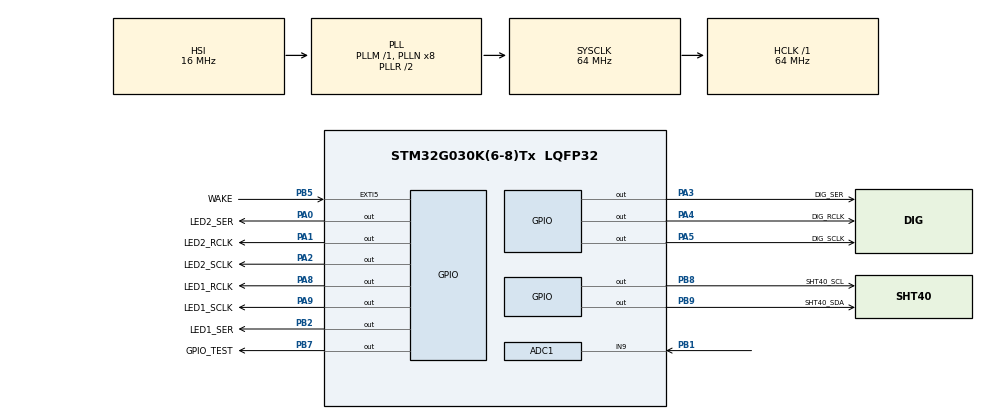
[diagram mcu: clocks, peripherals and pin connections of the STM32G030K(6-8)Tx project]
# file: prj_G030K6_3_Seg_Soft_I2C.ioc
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ADC1.Channel-1\#ChannelRegularConversion=ADC_CHANNEL_9
ADC1.NbrOfConversionFlag=1
ADC1.Rank-1\#ChannelRegularConversion=1
ADC1.SamplingTime-1\#ChannelRegularConversion=ADC_SAMPLINGTIME_COMMON_1
ADC1.SamplingTimeCommon1=ADC_SAMPLETIME_160CYCLES_5
ADC1.SamplingTimeCommon2=ADC_SAMPLETIME_160CYCLES_5
ADC1.SelectedChannel=ADC_CHANNEL_9
ADC1.master=1
Mcu.Family=STM32G0
Mcu.Name=STM32G030K(6-8)Tx
Mcu.Package=LQFP32
NVIC.EXTI4_15_IRQn=true\:1\:0\:true\:false\:true\:true\:true\:true
NVIC.TIM14_IRQn=true\:2\:0\:true\:false\:true\:true\:true\:true
PA0.GPIO_Label=LED2_SER
PA0.GPIO_Speed=GPIO_SPEED_FREQ_VERY_HIGH
PA0.Signal=GPIO_Output
PA1.GPIO_Label=LED2_RCLK
PA1.GPIO_Speed=GPIO_SPEED_FREQ_VERY_HIGH
PA1.Signal=GPIO_Output
PA13.Mode=Serial_Wire
PA13.Signal=SYS_SWDIO
PA14-BOOT0.Mode=Serial_Wire
PA14-BOOT0.Signal=SYS_SWCLK
PA2.GPIO_Label=LED2_SCLK
PA2.GPIO_Speed=GPIO_SPEED_FREQ_VERY_HIGH
PA2.Signal=GPIO_Output
PA3.GPIO_Label=DIG_SER
PA3.GPIO_Speed=GPIO_SPEED_FREQ_VERY_HIGH
PA3.Signal=GPIO_Output
PA4.GPIO_Label=DIG_RCLK
PA4.GPIO_Speed=GPIO_SPEED_FREQ_VERY_HIGH
PA4.Signal=GPIO_Output
PA5.GPIO_Label=DIG_SCLK
PA5.GPIO_Speed=GPIO_SPEED_FREQ_VERY_HIGH
PA5.Signal=GPIO_Output
PA8.GPIO_Label=LED1_RCLK
PA8.GPIO_Speed=GPIO_SPEED_FREQ_VERY_HIGH
PA8.Signal=GPIO_Output
PA9.GPIO_FMPA9=__NULL
PA9.GPIO_Label=LED1_SCLK
PA9.GPIO_Speed=GPIO_SPEED_FREQ_VERY_HIGH
PA9.Signal=GPIO_Output
PB1.Mode=IN9
PB1.Signal=ADC1_IN9
PB2.GPIO_Label=LED1_SER
PB2.Signal=GPIO_Output
PB5.GPIO_Label=WAKE
PB5.GPIO_ModeDefaultEXTI=GPIO_MODE_IT_FALLING
PB5.GPIO_PuPd=GPIO_PULLUP
PB5.Signal=GPXTI5
PB7.GPIO_Label=GPIO_TEST
PB7.Signal=GPIO_Output
PB8.GPIO_Label=SHT40_SCL
PB8.GPIO_ModeDefaultOutputPP=GPIO_MODE_OUTPUT_OD
PB8.GPIO_PuPd=GPIO_PULLUP
PB8.GPIO_Speed=GPIO_SPEED_FREQ_MEDIUM
PB8.Signal=GPIO_Output
PB9.GPIO_Label=SHT40_SDA
PB9.GPIO_ModeDefaultOutputPP=GPIO_MODE_OUTPUT_OD
PB9.GPIO_PuPd=GPIO_PULLUP
PB9.GPIO_Speed=GPIO_SPEED_FREQ_MEDIUM
PB9.Signal=GPIO_Output
PC14-OSC32_IN\ (PC14).Mode=LSE-External-Oscillator
PC14-OSC32_IN\ (PC14).Signal=RCC_OSC32_IN
PC15-OSC32_OUT\ (PC15).Mode=LSE-External-Oscillator
PC15-OSC32_OUT\ (PC15).Signal=RCC_OSC32_OUT
ProjectManager.HeapSize=0x200
ProjectManager.StackSize=0x400
ProjectManager.TargetToolchain=STM32CubeIDE
RCC.ADCFreq_Value=64000000
RCC.AHBFreq_Value=64000000
RCC.CortexFreq_Value=64000000
RCC.EXTERNAL_CLOCK_VALUE=12288000
RCC.HCLKFreq_Value=64000000
RCC.HSE_VALUE=8000000
RCC.HSI_VALUE=16000000
RCC.SYSCLKFreq_VALUE=64000000
RCC.SYSCLKSource=RCC_SYSCLKSOURCE_PLLCLK
RCC.VCOOutputFreq_Value=128000000
TIM14.Period=30 - 1
TIM14.Prescaler=64 - 1
VP_TIM14_VS_ClockSourceINT.Mode=Enable_Timer
board=custom

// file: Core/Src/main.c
/* USER CODE BEGIN Header */
/**
  ******************************************************************************
  * @file           : main.c
  * @brief          : Main program body
  ******************************************************************************
  * @attention
  *
  * Copyright (c) 2026 STMicroelectronics.
  * All rights reserved.
  *
  * This software is licensed under terms that can be found in the LICENSE file
  * in the root directory of this software component.
  * If no LICENSE file comes with this software, it is provided AS-IS.
  *
  ******************************************************************************
  */
/* USER CODE END Header */
#include "main.h"
#include "adc.h"
#include "tim.h"
#include "gpio.h"

/* USER CODE BEGIN Includes */
#include "sht40.h"

/* USER CODE END Includes */

void SystemClock_Config(void);

/* USER CODE BEGIN 0 */
struct DEVICE_PARAMTER device_paramter = {0};
/* USER CODE END 0 */

int main(void)
{

  /* USER CODE BEGIN 1 */
	float Temperature = 0;
	float Humidity = 0;

	uint32_t ADC_Value = 0;
	float Data = 0;
  /* USER CODE END 1 */

  /* MCU Configuration--------------------------------------------------------*/

  /* Reset of all peripherals, Initializes the Flash interface and the Systick. */
  HAL_Init();

  /* Configure the system clock */
  SystemClock_Config();

  /* Initialize all configured peripherals */
  MX_GPIO_Init();
  MX_ADC1_Init();
  MX_TIM14_Init();
  /* USER CODE BEGIN 2 */
  //操作595使数码管初始全灭
  SN74HC595_Send_Data(SN_DIG,0x00);		//共阴极低电平
  SN74HC595_Send_Data(SN_LED1,0x00);	//内容空
  SN74HC595_Send_Data(SN_LED2,0x00);

  HAL_ADCEx_Calibration_Start(&hadc1);    //ADC校准

  HAL_ADC_Start(&hadc1);     //启动ADC转换
  HAL_ADC_PollForConversion(&hadc1, 50);   //等待转换完成，50为最大等待时间，单位为ms
  if(HAL_IS_BIT_SET(HAL_ADC_GetState(&hadc1), HAL_ADC_STATE_REG_EOC))
  {
	  ADC_Value = HAL_ADC_GetValue(&hadc1);   //获取AD值
	  Data = (ADC_Value*3.3f)/4095.0f;
  }
  HAL_ADC_Stop(&hadc1);
  device_paramter.Vol_Value = (uint16_t)(Data * 100)*2;

  HAL_SuspendTick();	//暂停滴答定时器，防止通过滴答定时器中断唤醒
  HAL_PWR_EnterSLEEPMode(PWR_MAINREGULATOR_ON, PWR_SLEEPENTRY_WFI); /* 执行WFI指令, 进入睡眠模式 */
  /* USER CODE END 2 */

  /* Infinite loop */
  /* USER CODE BEGIN WHILE */

  HAL_Delay(50);
  while (1)
  {
    /* ===== 超时检查：等第二次点击超时 → 判为单击 ===== */
    if(device_paramter.clickPending &&
        (HAL_GetTick() - device_paramter.firstClickTick > DOUBLE_CLICK_WINDOW))
    {
        device_paramter.clickPending = 0;
        // 没有第二次点击 → 执行单击：读温湿度
        SHT40_Read_RHData(&Temperature, &Humidity);	//读取温湿度
				device_paramter.Temp = Temperature * 10;		//放大温湿度
				device_paramter.Humi = Humidity * 10;
				device_paramter.displayMode = 0;
				HAL_TIM_Base_Start_IT(&htim14);         		//开始定时器，显示两次数据

        device_paramter.sleepStatus = 0;            //清除休眠标志
    }

    /* ===== 按键事件处理 ===== */
    if(device_paramter.KeyStatus == KEY_SHAKE_STATE)
    {
        HAL_Delay(10);
        if (HAL_GPIO_ReadPin(GPIOB, GPIO_PIN_5) == GPIO_PIN_RESET)
        {
            while (HAL_GPIO_ReadPin(GPIOB, GPIO_PIN_5) == GPIO_PIN_RESET);
            device_paramter.KeyStatus = KEY_NO_PRESS;

            if (device_paramter.clickPending)
            {
                /* 第二次点击在窗口内 → 双击 */
                device_paramter.clickPending = 0;

                HAL_ADC_Stop(&hadc1);                   //确保从停止态启动
                HAL_ADC_Start(&hadc1);
                HAL_ADC_PollForConversion(&hadc1, 50);  //等待转换完成，50为最大等待时间，单位为ms
                ADC_Value = HAL_ADC_GetValue(&hadc1);   //获取AD值
                /* 先乘后除保证精度 Data范围0-3.3V 但实际上有两10K电阻串联故约为1.65 */
                Data = (ADC_Value * 3.3f)/4095.0f;
                device_paramter.Vol_Value = (uint16_t)(Data * 100)*2; // 还原上端电压，厘伏(×100)，1.65V→330

                // 数码管显示电压，tim.c 中根据 displayMode 读取 Vol_Value
                device_paramter.displayMode = 1;

                HAL_TIM_Base_Start_IT(&htim14);
                device_paramter.sleepStatus = 0;
            }
            else{
                /* 第一次点击 → 启动窗口计时 */
                device_paramter.sleepStatus = 0;          // 清除休眠标志，防止立即重入SLEEP
                device_paramter.clickPending = 1;
                device_paramter.firstClickTick = HAL_GetTick();
                // 不 sleep，继续轮询等第二次点击
            }
        }
        else{
            device_paramter.KeyStatus = KEY_NO_PRESS;  // 抖动，忽略
        }
    }
    /* ===== 休眠入口 ===== */
    if (device_paramter.sleepStatus == 1)           //显示结束，进入休眠
    {
        HAL_SuspendTick();   //暂停滴答定时器，防止通过滴答定时器中断唤醒
        HAL_PWR_EnterSLEEPMode(PWR_MAINREGULATOR_ON, PWR_SLEEPENTRY_WFI); /* 执行WFI指令, 进入睡眠模式 */
    }

    // ShowNum(1,1,device_paramter.Vol_Value / 100);
    // ShowNum(1,2,device_paramter.Vol_Value /10 %10);
    // ShowNum(1,3,device_paramter.Vol_Value % 10);

    /* USER CODE END WHILE */

    /* USER CODE BEGIN 3 */

    // ShowNum(1,1,Temp/100);
    // ShowNum(1,2,Temp/ 10 % 10);
    // ShowNum(1,3,Temp%10);

		// ShowNum(2,1,Humi/100);
		// ShowNum(2,2,Humi/ 10 % 10);
		// ShowNum(2,3,Humi%10);
		// HAL_Delay(10);

  }
  /* USER CODE END 3 */
}

void SystemClock_Config(void)
{
  RCC_OscInitTypeDef RCC_OscInitStruct = {0};
  RCC_ClkInitTypeDef RCC_ClkInitStruct = {0};

  /** Configure the main internal regulator output voltage
  */
  HAL_PWREx_ControlVoltageScaling(PWR_REGULATOR_VOLTAGE_SCALE1);

  /** Initializes the RCC Oscillators according to the specified parameters
  * in the RCC_OscInitTypeDef structure.
  */
  RCC_OscInitStruct.OscillatorType = RCC_OSCILLATORTYPE_HSI;
  RCC_OscInitStruct.HSIState = RCC_HSI_ON;
  RCC_OscInitStruct.HSIDiv = RCC_HSI_DIV1;
  RCC_OscInitStruct.HSICalibrationValue = RCC_HSICALIBRATION_DEFAULT;
  RCC_OscInitStruct.PLL.PLLState = RCC_PLL_ON;
  RCC_OscInitStruct.PLL.PLLSource = RCC_PLLSOURCE_HSI;
  RCC_OscInitStruct.PLL.PLLM = RCC_PLLM_DIV1;
  RCC_OscInitStruct.PLL.PLLN = 8;
  RCC_OscInitStruct.PLL.PLLP = RCC_PLLP_DIV2;
  RCC_OscInitStruct.PLL.PLLR = RCC_PLLR_DIV2;
  if (HAL_RCC_OscConfig(&RCC_OscInitStruct) != HAL_OK)
  {
    Error_Handler();
  }

  /** Initializes the CPU, AHB and APB buses clocks
  */
  RCC_ClkInitStruct.ClockType = RCC_CLOCKTYPE_HCLK|RCC_CLOCKTYPE_SYSCLK
                              |RCC_CLOCKTYPE_PCLK1;
  RCC_ClkInitStruct.SYSCLKSource = RCC_SYSCLKSOURCE_PLLCLK;
  RCC_ClkInitStruct.AHBCLKDivider = RCC_SYSCLK_DIV1;
  RCC_ClkInitStruct.APB1CLKDivider = RCC_HCLK_DIV1;

  if (HAL_RCC_ClockConfig(&RCC_ClkInitStruct, FLASH_LATENCY_2) != HAL_OK)
  {
    Error_Handler();
  }
}

void Error_Handler(void)
{
  __disable_irq();
  while (1)
  {
  }
}
